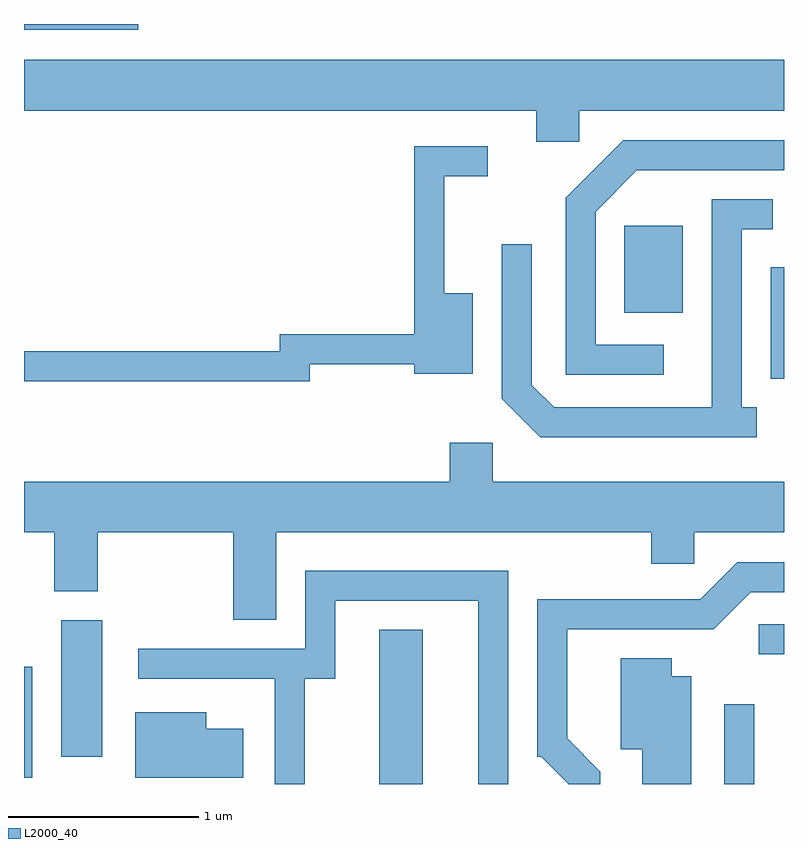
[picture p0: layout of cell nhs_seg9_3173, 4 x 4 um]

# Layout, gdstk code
import gdstk
lib = gdstk.Library(unit=1e-6, precision=1e-09)
def R(c, l, rs):  # rectangles x0, y0, x1, y1
    for r in rs: c.add(gdstk.rectangle(r[:2], r[2:], *l))
def P(c, l, *ps):  # polygons
    for p in ps: c.add(gdstk.Polygon(p, *l))
L2000_40 = (2000, 40)

nhs_seg9_3173 = lib.new_cell('nhs_seg9_3173')
R(nhs_seg9_3173, L2000_40, [(279.481,2050.432,279.709,2051.244), (281.296,2050.432,281.454,2050.853), (277.611,2050.466,277.654,2051.049), (277.806,2050.576,278.024,2051.294), (281.478,2051.116,281.611,2051.274), (281.541,2052.566,281.611,2053.153), (280.771,2052.911,281.079,2053.369), (277.611,2054.401,278.213,2054.432)])
P(nhs_seg9_3173, L2000_40, [(280.534,2053.976),(281.611,2053.976),(281.611,2054.244),(277.611,2054.244),(277.611,2053.976),(280.306,2053.976),(280.306,2053.811),(280.534,2053.811)],
  [(280.978,2052.744),(280.619,2052.744),(280.619,2053.443),(280.837,2053.661),(281.611,2053.661),(281.611,2053.819),(280.764,2053.819),(280.461,2053.517),(280.461,2052.586),(280.978,2052.586)],
  [(279.114,2052.641),(279.666,2052.641),(279.666,2052.591),(279.974,2052.591),(279.974,2053.014),(279.824,2053.014),(279.824,2053.631),(280.053,2053.631),(280.053,2053.789),(279.666,2053.789),(279.666,2052.799),(278.956,2052.799),(278.956,2052.709),(277.611,2052.709),(277.611,2052.551),(279.114,2052.551)],
  [(281.468,2052.414),(281.389,2052.414),(281.389,2053.351),(281.553,2053.351),(281.553,2053.509),(281.231,2053.509),(281.231,2052.414),(280.402,2052.414),(280.284,2052.532),(280.284,2053.273),(280.126,2053.273),(280.126,2052.459),(280.329,2052.256),(281.468,2052.256)],
  [(278.939,2051.756),(280.911,2051.756),(280.911,2051.591),(281.139,2051.591),(281.139,2051.756),(281.611,2051.756),(281.611,2052.024),(280.079,2052.024),(280.079,2052.229),(279.851,2052.229),(279.851,2052.024),(277.611,2052.024),(277.611,2051.756),(277.771,2051.756),(277.771,2051.446),(277.999,2051.446),(277.999,2051.756),(278.711,2051.756),(278.711,2051.296),(278.939,2051.296)],
  [(280.644,2050.497),(280.469,2050.672),(280.469,2051.246),(281.242,2051.246),(281.437,2051.441),(281.611,2051.441),(281.611,2051.599),(281.364,2051.599),(281.169,2051.404),(280.311,2051.404),(280.311,2050.576),(280.334,2050.576),(280.477,2050.432),(280.644,2050.432)],
  [(279.089,2050.986),(279.249,2050.986),(279.249,2051.396),(280.001,2051.396),(280.001,2050.432),(280.159,2050.432),(280.159,2051.554),(279.091,2051.554),(279.091,2051.144),(278.213,2051.144),(278.213,2050.986),(278.931,2050.986),(278.931,2050.432),(279.089,2050.432)],
  [(281.124,2050.999),(281.019,2050.999),(281.019,2051.094),(280.751,2051.094),(280.751,2050.616),(280.866,2050.616),(280.866,2050.432),(281.124,2050.432)],
  [(278.764,2050.724),(278.569,2050.724),(278.569,2050.809),(278.196,2050.809),(278.196,2050.466),(278.764,2050.466)])

lib.write_gds('nhs_seg9_3173.gds')
